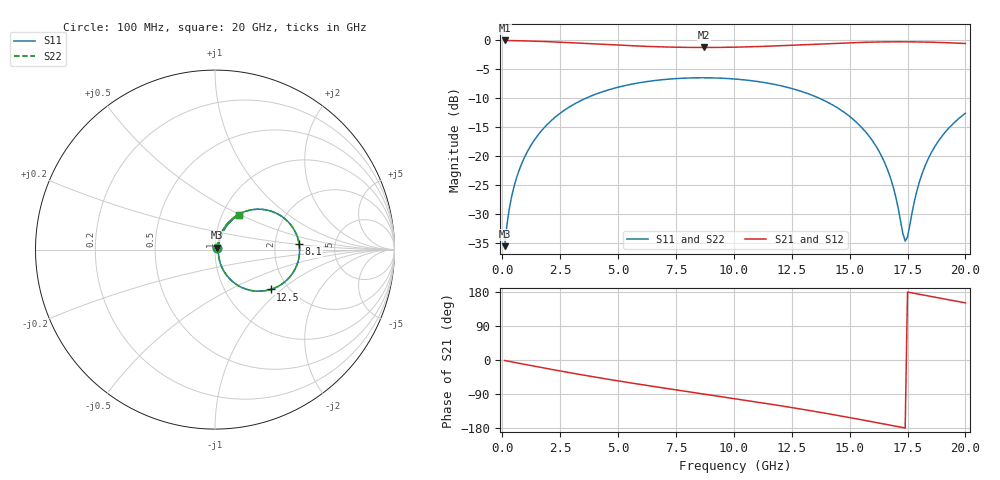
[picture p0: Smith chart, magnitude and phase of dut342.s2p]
! Touchstone file exported from HFSS 2026.1.0
!  File:  C:/ffzhzh/LocalFiles/Ansys_Project_Files/temp_train_TSV_RDL_342_1783035006_55676.aedt
!  Generated:  07:43:13 AM Jul  3, 2026
!  Design:  TSV_RDL
!  Project:  temp_train_TSV_RDL_342_1783035006_55676
! Variables:
!  h_bsmrdl = 3.44um
!  h_ox = 20um
!  h_rdl = 5um
!  h_sub = 83.83um
!  h_tmrdl = 5.21um
!  h_tsv = 83.83um
!  h_via = 3um
!  l_bsmrdl = 689.39um
!  l_sub = 3406.66um
!  l_tmrdl = 197.31um
!  m_sub = 200um
!  pitch = 50.01um
!  r_tsv = 10.15um
!  s_tmrdl = 10um
!  w_bsmrdl = 23.23um
!  w_sub = 500um
!  w_tmrdl = 26.52um
!  x_tsv_center1 = 210.57um
!  x_tsv_center2 = 923.19um
!  x_tsv_center3 = 1147.02um
!  x_tsv_center4 = 1859.64um
!  x_tsv_center5 = 2083.47um
!  x_tsv_center6 = 2796.09um
# GHz S MA R 50.000000
! Terminal data exported
! Port[1] = TM_RDL1_1_T1
! Port[2] = TM_RDL5_1_T1
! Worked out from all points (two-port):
!   200 points, 100 MHz to 20 GHz, reference 50 ohm
!   highest |S21| = -0.11 dB at 100 MHz (marker M1); lowest = -1.3 dB at 8.7 GHz (marker M2)
!   |S21| within 3 dB of the highest: start of sweep to end of sweep
!   lowest |S11| = -35.5 dB at 100 MHz (marker M3), VSWR 1.03, Z = 51.3 + j1.11 ohm
!   |S11| at or under -10 dB: start of sweep to 3.642 GHz; 13.66 GHz to end of sweep
!   |S22| runs from -35.5 to -6.5 dB; largest |S21 - S12| = 4e-14
!   S11 on the Smith chart (normalised r, x): 100 MHz: 1.03, +0.02; 8.1 GHz: 2.75, +0.22; 12.5 GHz: 1.63, -0.84; 20 GHz: 1.20, +0.49
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0.1  0.01674 40.1  0.9874 -1.2  0.9874 -1.2  0.01674 40.1
! Gamma 0 0 0 0
! Port Impedance 50 0 50 0
0.3  0.03491 62.7  0.9855 -3.7  0.9855 -3.7  0.03491 62.7
0.5  0.05391 67.7  0.9835 -6.0  0.9835 -6.0  0.05391 67.7
1.1  0.1106 68.4  0.9773 -13.0  0.9773 -13.0  0.1106 68.4
2.1  0.2005 60.4  0.9617 -24.5  0.9617 -24.5  0.2005 60.4
3.5  0.307 46.6  0.9319 -39.8  0.9319 -39.8  0.307 46.6
6.8  0.4513 15.4  0.8704 -72.3  0.8704 -72.3  0.4513 15.4
8.1  0.4696 3.9  0.8605 -84.2  0.8605 -84.2  0.4697 3.9
8.7  0.4714 -1.4  0.8593 -89.7  0.8593 -89.7  0.4714 -1.4
10.1  0.4589 -13.8  0.865 -102.5  0.865 -102.5  0.4589 -13.8
12.5  0.3811 -35.7  0.8979 -125.5  0.8979 -125.5  0.3812 -35.7
13.4  0.3323 -44.2  0.9147 -134.7  0.9147 -134.7  0.3324 -44.2
15.5  0.1778 -63.8  0.9504 -157.5  0.9504 -157.5  0.1778 -63.8
16.2  0.1161 -68.4  0.9577 -165.5  0.9577 -165.5  0.1161 -68.4
16.7  0.07062 -68.1  0.9607 -171.3  0.9607 -171.3  0.07064 -68.1
17  0.04383 -61.8  0.9615 -174.8  0.9615 -174.8  0.04386 -61.7
17.4  0.01849 -6.1  0.9614 -179.5  0.9614 -179.5  0.01853 -6.2
17.5  0.02008 21.1  0.9611 179.4  0.9611 179.4  0.0201 21.0
18  0.05861 63.7  0.9586 173.5  0.9586 173.5  0.0586 63.6
18.4  0.09505 66.3  0.955 168.9  0.955 168.9  0.09504 66.3
19.1  0.158 63.0  0.9459 160.9  0.9459 160.9  0.158 62.9
20  0.2334 55.3  0.93 150.8  0.93 150.8  0.2334 55.3
